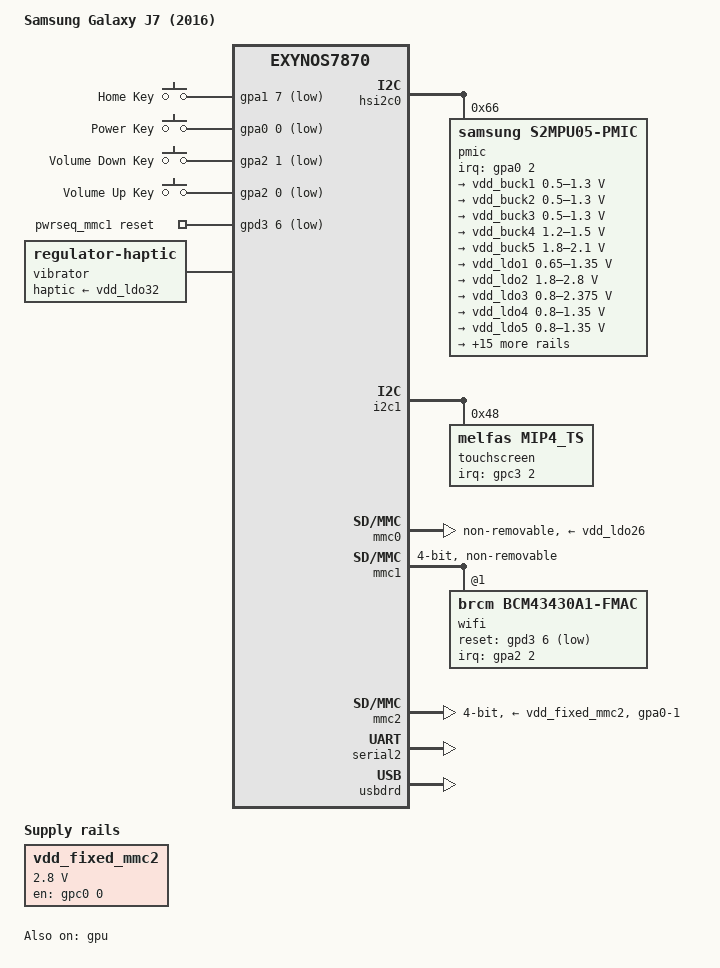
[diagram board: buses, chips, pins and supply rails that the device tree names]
// SPDX-License-Identifier: GPL-2.0
/*
 * Samsung Galaxy J7 (2016) (j7xelte) device tree source
 *
 * Copyright (c) 2025 Rayan Marzouk <rayanmarzouk743@gmail.com>
 */

/dts-v1/;
#include "exynos7870.dtsi"
#include <dt-bindings/gpio/gpio.h>
#include <dt-bindings/input/input.h>
#include <dt-bindings/interrupt-controller/irq.h>

/ {
	model = "Samsung Galaxy J7 (2016)";
	compatible = "samsung,j7xelte", "samsung,exynos7870";
	chassis-type = "handset";

	aliases {
		mmc0 = &mmc0;
		mmc1 = &mmc1;
		mmc2 = &mmc2;
		serial0 = &serial0;
		serial1 = &serial1;
		serial2 = &serial2;
	};

	chosen {
		#address-cells = <2>;
		#size-cells = <1>;
		ranges;

		stdout-path = &serial2;

		framebuffer@67000000 {
			compatible = "simple-framebuffer";
			reg = <0x0 0x67000000 (720 * 1280 * 4)>;
			width = <720>;
			height = <1280>;
			stride = <(720 * 4)>;
			format = "a8r8g8b8";
		};
	};

	gpio-keys {
		compatible = "gpio-keys";
		label = "GPIO Keys";

		pinctrl-names = "default";
		pinctrl-0 = <&key_home &key_power &key_voldown &key_volup>;

		key-home {
			label = "Home Key";
			gpios = <&gpa1 7 GPIO_ACTIVE_LOW>;
			linux,code = <KEY_HOMEPAGE>;
		};

		key-power {
			label = "Power Key";
			gpios = <&gpa0 0 GPIO_ACTIVE_LOW>;
			linux,code = <KEY_POWER>;
		};

		key-voldown {
			label = "Volume Down Key";
			gpios = <&gpa2 1 GPIO_ACTIVE_LOW>;
			linux,code = <KEY_VOLUMEDOWN>;
		};

		key-volup {
			label = "Volume Up Key";
			gpios = <&gpa2 0 GPIO_ACTIVE_LOW>;
			linux,code = <KEY_VOLUMEUP>;
		};
	};

	memory@40000000 {
		device_type = "memory";
		reg = <0x0 0x40000000 0x3e400000>,
		      <0x0 0x80000000 0x40000000>;
	};

	pwrseq_mmc1: pwrseq-mmc1 {
		compatible = "mmc-pwrseq-simple";
		reset-gpios = <&gpd3 6 GPIO_ACTIVE_LOW>;
	};

	reserved-memory {
		#address-cells = <2>;
		#size-cells = <1>;
		ranges;

		ramoops@46e00000 {
			compatible = "ramoops";
			reg = <0x0 0x46e00000 0x8000>;
			console-size = <0x4000>;
			pmsg-size = <0x4000>;
		};

		cont_splash_mem: framebuffer@67000000 {
			reg = <0x0 0x67000000 0x00384000>;
			no-map;
		};
	};

	vdd_fixed_mmc2: regulator-fixed-mmc2 {
		compatible = "regulator-fixed";
		regulator-name = "vdd_fixed_mmc2";
		regulator-max-microvolt = <2800000>;
		regulator-min-microvolt = <2800000>;
		gpio = <&gpc0 0 GPIO_ACTIVE_HIGH>;
		enable-active-high;
	};

	vibrator {
		compatible = "regulator-haptic";
		haptic-supply = <&vdd_ldo32>;
		min-microvolt = <3300000>;
		max-microvolt = <3300000>;
	};
};

&gpu {
	status = "okay";
};

&hsi2c0 {
	#address-cells = <1>;
	#size-cells = <0>;

	status = "okay";

	pmic@66 {
		compatible = "samsung,s2mpu05-pmic";
		reg = <0x66>;
		interrupt-parent = <&gpa0>;
		interrupts = <2 IRQ_TYPE_LEVEL_LOW>;

		pinctrl-names = "default";
		pinctrl-0 = <&pmic_irq>;

		regulators {
			vdd_buck1: buck1 {
				regulator-name = "vdd_buck1";
				regulator-min-microvolt = <500000>;
				regulator-max-microvolt = <1300000>;
				regulator-always-on;
				regulator-boot-on;
			};

			vdd_buck2: buck2 {
				regulator-name = "vdd_buck2";
				regulator-min-microvolt = <500000>;
				regulator-max-microvolt = <1300000>;
				regulator-always-on;
				regulator-boot-on;
			};

			vdd_buck3: buck3 {
				regulator-name = "vdd_buck3";
				regulator-min-microvolt = <500000>;
				regulator-max-microvolt = <1300000>;
				regulator-always-on;
				regulator-boot-on;
			};

			vdd_buck4: buck4 {
				regulator-name = "vdd_buck4";
				regulator-min-microvolt = <1200000>;
				regulator-max-microvolt = <1500000>;
				regulator-always-on;
				regulator-boot-on;
			};

			vdd_buck5: buck5 {
				regulator-name = "vdd_buck5";
				regulator-min-microvolt = <1800000>;
				regulator-max-microvolt = <2100000>;
				regulator-always-on;
				regulator-boot-on;
			};

			vdd_ldo1: ldo1 {
				regulator-name = "vdd_ldo1";
				regulator-min-microvolt = <650000>;
				regulator-max-microvolt = <1350000>;
				regulator-always-on;
				regulator-boot-on;
			};

			vdd_ldo2: ldo2 {
				regulator-name = "vdd_ldo2";
				regulator-min-microvolt = <1800000>;
				regulator-max-microvolt = <2800000>;
			};

			vdd_ldo3: ldo3 {
				regulator-name = "vdd_ldo3";
				regulator-min-microvolt = <800000>;
				regulator-max-microvolt = <2375000>;
				regulator-always-on;
				regulator-boot-on;
			};

			vdd_ldo4: ldo4 {
				regulator-name = "vdd_ldo4";
				regulator-min-microvolt = <800000>;
				regulator-max-microvolt = <1350000>;
				regulator-always-on;
				regulator-boot-on;
			};

			vdd_ldo5: ldo5 {
				regulator-name = "vdd_ldo5";
				regulator-min-microvolt = <800000>;
				regulator-max-microvolt = <1350000>;
				regulator-always-on;
				regulator-boot-on;
			};

			vdd_ldo6: ldo6 {
				regulator-name = "vdd_ldo6";
				regulator-min-microvolt = <800000>;
				regulator-max-microvolt = <1350000>;
				regulator-always-on;
				regulator-boot-on;
			};

			vdd_ldo7: ldo7 {
				regulator-name = "vdd_ldo7";
				regulator-min-microvolt = <800000>;
				regulator-max-microvolt = <2375000>;
				regulator-always-on;
				regulator-boot-on;
			};

			vdd_ldo8: ldo8 {
				regulator-name = "vdd_ldo8";
				regulator-min-microvolt = <3300000>;
				regulator-max-microvolt = <3300000>;
			};

			vdd_ldo9: ldo9 {
				regulator-name = "vdd_ldo9";
				regulator-min-microvolt = <650000>;
				regulator-max-microvolt = <1350000>;
				regulator-always-on;
				regulator-boot-on;
			};

			vdd_ldo10: ldo10 {
				regulator-name = "vdd_ldo10";
				regulator-min-microvolt = <650000>;
				regulator-max-microvolt = <1350000>;
				regulator-always-on;
				regulator-boot-on;
			};

			vdd_ldo25: ldo25 {
				regulator-name = "vdd_ldo25";
				regulator-min-microvolt = <800000>;
				regulator-max-microvolt = <2375000>;
				regulator-always-on;
				regulator-boot-on;
			};

			vdd_ldo26: ldo26 {
				regulator-name = "vdd_ldo26";
				regulator-min-microvolt = <1800000>;
				regulator-max-microvolt = <3375000>;
			};

			vdd_ldo27: ldo27 {
				regulator-name = "vdd_ldo27";
				regulator-min-microvolt = <800000>;
				regulator-max-microvolt = <2375000>;
			};

			vdd_ldo29: ldo29 {
				regulator-name = "vdd_ldo29";
				regulator-min-microvolt = <3000000>;
				regulator-max-microvolt = <3000000>;
				regulator-always-on;
				regulator-boot-on;
			};

			vdd_ldo30: ldo30 {
				regulator-name = "vdd_ldo30";
				regulator-min-microvolt = <1800000>;
				regulator-max-microvolt = <1800000>;
				regulator-always-on;
				regulator-boot-on;
			};

			vdd_ldo31: ldo31 {
				regulator-name = "vdd_ldo31";
				regulator-min-microvolt = <2800000>;
				regulator-max-microvolt = <2800000>;
				regulator-always-on;
				regulator-boot-on;
			};

			vdd_ldo32: ldo32 {
				regulator-name = "vdd_ldo32";
				regulator-min-microvolt = <3300000>;
				regulator-max-microvolt = <3300000>;
			};

			vdd_ldo33: ldo33 {
				regulator-name = "vdd_ldo33";
				regulator-min-microvolt = <3300000>;
				regulator-max-microvolt = <3300000>;
				regulator-always-on;
				regulator-boot-on;
			};

			vdd_ldo34: ldo34 {
				regulator-name = "vdd_ldo34";
				regulator-min-microvolt = <3300000>;
				regulator-max-microvolt = <3300000>;
				regulator-always-on;
				regulator-boot-on;
			};

			vdd_ldo35: ldo35 {
				regulator-name = "vdd_ldo35";
				regulator-min-microvolt = <2800000>;
				regulator-max-microvolt = <2800000>;
				regulator-always-on;
				regulator-boot-on;
			};
		};
	};
};

&i2c1 {
	samsung,i2c-sda-delay = <100>;
	samsung,i2c-max-bus-freq = <400000>;

	status = "okay";

	touchscreen@48 {
		compatible = "melfas,mip4_ts";
		reg = <0x48>;

		interrupt-parent = <&gpc3>;
		interrupts = <2 IRQ_TYPE_EDGE_FALLING>;

		pinctrl-names = "default";
		pinctrl-0 = <&touch_irq>;
	};
};

&mmc0 {
	pinctrl-names = "default";
	pinctrl-0 = <&sd0_clk &sd0_cmd &sd0_rdqs &sd0_bus1 &sd0_bus4 &sd0_bus8>;

	vmmc-supply = <&vdd_ldo26>;
	vqmmc-supply = <&vdd_ldo27>;

	fifo-depth = <64>;
	samsung,dw-mshc-ciu-div = <3>;
	samsung,dw-mshc-sdr-timing = <0 4>;
	samsung,dw-mshc-ddr-timing = <2 4>;
	non-removable;

	status = "okay";
};

&mmc1 {
	#address-cells = <1>;
	#size-cells = <0>;

	pinctrl-names = "default";
	pinctrl-0 = <&sd1_clk &sd1_cmd &sd1_bus1 &sd1_bus4>;

	mmc-pwrseq = <&pwrseq_mmc1>;

	bus-width = <4>;
	fifo-depth = <64>;
	samsung,dw-mshc-ciu-div = <3>;
	samsung,dw-mshc-sdr-timing = <0 3>;
	samsung,dw-mshc-ddr-timing = <1 2>;
	non-removable;
	cap-sd-highspeed;
	cap-sdio-irq;

	status = "okay";

	wifi@1 {
		compatible = "brcm,bcm43430a1-fmac", "brcm,bcm4329-fmac";
		reg = <0x1>;

		interrupt-names = "host-wake";
		interrupt-parent = <&gpa2>;
		interrupts = <2 IRQ_TYPE_LEVEL_LOW>;

		reset-gpios = <&gpd3 6 GPIO_ACTIVE_LOW>;
	};
};

&mmc2 {
	pinctrl-names = "default";
	pinctrl-0 = <&sd2_clk &sd2_cmd &sd2_bus1 &sd2_bus4 &dwmmc2_irq>;

	vmmc-supply = <&vdd_fixed_mmc2>;
	vqmmc-supply = <&vdd_ldo2>;

	bus-width = <4>;
	card-detect-delay = <200>;
	fifo-depth = <64>;
	samsung,dw-mshc-ciu-div = <3>;
	samsung,dw-mshc-sdr-timing = <0 3>;
	samsung,dw-mshc-ddr-timing = <1 2>;
	sd-uhs-sdr50;
	sd-uhs-sdr104;
	broken-cd;
	disable-wp;

	status = "okay";
};

&oscclk {
	clock-frequency = <26000000>;
};

&pinctrl_alive {
	dwmmc2_irq: dwmmc2-irq-pins {
		samsung,pins = "gpa0-1";
		samsung,pin-function = <EXYNOS_PIN_FUNC_EINT>;
		samsung,pin-pud = <EXYNOS_PIN_PULL_NONE>;
		samsung,pin-drv = <EXYNOS5433_PIN_DRV_FAST_SR1>;
	};

	fuel_irq: fuel-irq-pins {
		samsung,pins = "gpa0-3";
		samsung,pin-function = <EXYNOS_PIN_FUNC_INPUT>;
		samsung,pin-pud = <EXYNOS_PIN_PULL_NONE>;
		samsung,pin-drv = <EXYNOS5433_PIN_DRV_FAST_SR1>;
	};

	key_home: key-home-pins {
		samsung,pins = "gpa1-7";
		samsung,pin-function = <EXYNOS_PIN_FUNC_EINT>;
		samsung,pin-pud = <EXYNOS_PIN_PULL_NONE>;
		samsung,pin-drv = <EXYNOS5433_PIN_DRV_FAST_SR1>;
	};

	key_power: key-power-pins {
		samsung,pins = "gpa0-0";
		samsung,pin-function = <EXYNOS_PIN_FUNC_EINT>;
		samsung,pin-pud = <EXYNOS_PIN_PULL_NONE>;
		samsung,pin-drv = <EXYNOS5433_PIN_DRV_FAST_SR1>;
	};

	key_voldown: key-voldown-pins {
		samsung,pins = "gpa2-1";
		samsung,pin-function = <EXYNOS_PIN_FUNC_EINT>;
		samsung,pin-pud = <EXYNOS_PIN_PULL_NONE>;
		samsung,pin-drv = <EXYNOS5433_PIN_DRV_FAST_SR1>;
	};

	key_volup: key-volup-pins {
		samsung,pins = "gpa2-0";
		samsung,pin-function = <EXYNOS_PIN_FUNC_EINT>;
		samsung,pin-pud = <EXYNOS_PIN_PULL_NONE>;
		samsung,pin-drv = <EXYNOS5433_PIN_DRV_FAST_SR1>;
	};

	pmic_irq: pmic-irq-pins {
		samsung,pins = "gpa0-2";
		samsung,pin-pud = <EXYNOS_PIN_PULL_UP>;
		samsung,pin-drv = <EXYNOS5433_PIN_DRV_FAST_SR3>;
	};
};

&pinctrl_touch {
	touch_irq: touch-irq-pins {
		samsung,pins = "gpc3-2";
		samsung,pin-function = <EXYNOS_PIN_FUNC_EINT>;
		samsung,pin-pud = <EXYNOS_PIN_PULL_NONE>;
		samsung,pin-drv = <EXYNOS5433_PIN_DRV_FAST_SR1>;
	};
};

&serial2 {
	status = "okay";
};

&usbdrd {
	vdd33-supply = <&vdd_ldo8>;

	status = "okay";
};
